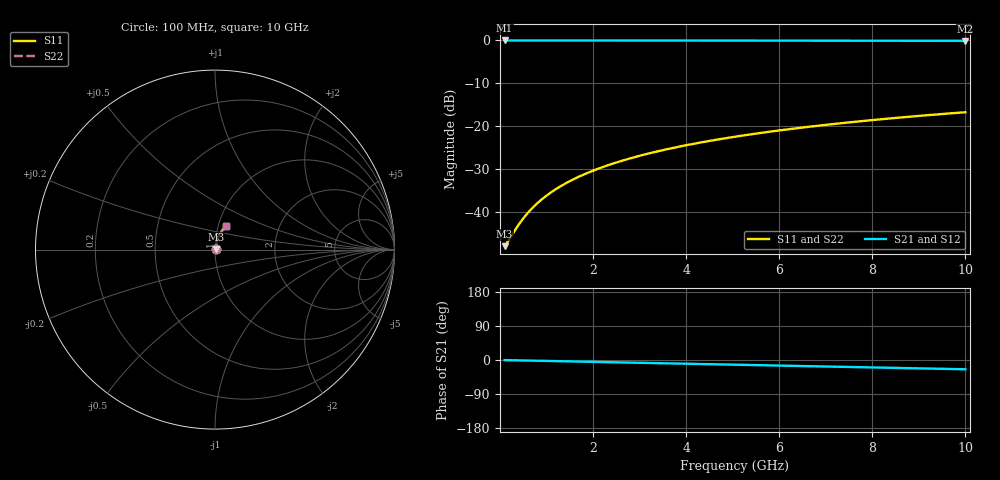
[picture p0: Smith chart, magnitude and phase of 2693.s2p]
# Hz S RI R 50.00
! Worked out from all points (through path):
!   100 points, 100 MHz to 10 GHz, reference 50 ohm
!   highest |S21| = -0.03 dB at 100 MHz (marker M1); lowest = -0.1 dB at 10 GHz (marker M2)
!   group delay of S21, straight-line fit = 6.81 ps
!   lowest |S11| = -48.0 dB at 100 MHz (marker M3), VSWR 1.01, Z = 50.4 + j0.15 ohm
!   |S11| at or under -10 dB: start of sweep to end of sweep
!   |S22| runs from -48.0 to -16.8 dB; largest |S21 - S12| = 0
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1e8  0.0037 0.00149  0.9963 -0.00427  0.9963 -0.00427  0.0037 0.00149
2e8  0.00374 0.00297  0.9962 -0.00853  0.9962 -0.00853  0.00374 0.00297
4e8  0.00385 0.00594  0.9961 -0.0171  0.9961 -0.0171  0.00385 0.00594
5e8  0.00392 0.00742  0.996 -0.0213  0.996 -0.0213  0.00392 0.00742
6e8  0.004 0.00891  0.9958 -0.0256  0.9958 -0.0256  0.004 0.00891
7e8  0.00409 0.0104  0.9957 -0.0299  0.9957 -0.0299  0.00409 0.0104
8e8  0.00419 0.0119  0.9955 -0.0341  0.9955 -0.0341  0.00419 0.0119
1e9  0.00444 0.0148  0.9951 -0.0426  0.9951 -0.0426  0.00444 0.0148
1.2e9  0.00473 0.0178  0.9947 -0.0512  0.9947 -0.0512  0.00473 0.0178
1.5e9  0.00526 0.0222  0.9938 -0.0639  0.9938 -0.0639  0.00526 0.0222
1.8e9  0.0059 0.0266  0.9928 -0.0767  0.9928 -0.0767  0.0059 0.0266
2.1e9  0.00666 0.031  0.9916 -0.0894  0.9916 -0.0894  0.00666 0.031
2.5e9  0.00784 0.0368  0.9897 -0.1064  0.9897 -0.1064  0.00784 0.0368
2.9e9  0.00921 0.0426  0.9874 -0.1233  0.9874 -0.1233  0.00921 0.0426
3.4e9  0.0112 0.0497  0.9842 -0.1443  0.9842 -0.1443  0.0112 0.0497
4.2e9  0.015 0.0609  0.978 -0.1778  0.978 -0.1778  0.015 0.0609
5.1e9  0.0202 0.0732  0.9695 -0.2152  0.9695 -0.2152  0.0202 0.0732
5.9e9  0.0256 0.0837  0.9606 -0.248  0.9606 -0.248  0.0256 0.0837
6.7e9  0.0317 0.0939  0.9505 -0.2803  0.9505 -0.2803  0.0317 0.0939
7.5e9  0.0385 0.1035  0.9392 -0.3122  0.9392 -0.3122  0.0385 0.1035
8.4e9  0.0469 0.1138  0.9251 -0.3475  0.9251 -0.3475  0.0469 0.1138
1e10  0.0637 0.1304  0.8966 -0.4084  0.8966 -0.4084  0.0637 0.1304
